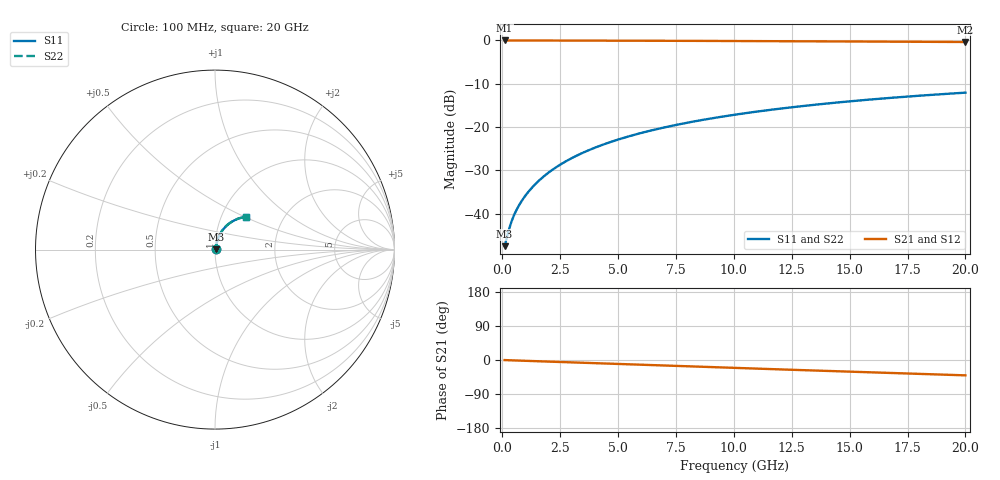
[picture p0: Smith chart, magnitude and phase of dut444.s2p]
! Touchstone file exported from HFSS 2026.1.0
!  File:  C:/ffzhzh/LocalFiles/Ansys_Project_Files/temp_train_BSMRDL_444_1783013165_4048.aedt
!  Generated:  01:27:25 AM Jul  3, 2026
!  Design:  BSMRDL
!  Project:  temp_train_BSMRDL_444_1783013165_4048
! Variables:
!  h_bsmrdl = 2.36um
!  h_ox = 20um
!  h_rdl = 5um
!  h_sub = 80um
!  h_tmrdl = 5um
!  h_tsv = 80um
!  h_via = 3um
!  l_bsmrdl = 647.97um
!  l_sub = 1047.97um
!  l_tmrdl = 200um
!  m_sub = 200um
!  pitch = 41.74um
!  r_tsv = 6um
!  s_tmrdl = 10um
!  w_bsmrdl = 28.1um
!  w_sub = 500um
!  w_tmrdl = 12um
!  x_tsv_center1 = 206um
!  x_tsv_center2 = 882.07um
!  x_tsv_center3 = 1094.07um
!  x_tsv_center4 = 1770.14um
!  x_tsv_center5 = 1982.14um
!  x_tsv_center6 = 2658.21um
# GHz S MA R 50.000000
! Terminal data exported
! Port[1] = BSM_RDL1_1_T1
! Port[2] = BSM_RDL1_1_T2
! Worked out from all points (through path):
!   200 points, 100 MHz to 20 GHz, reference 50 ohm
!   highest |S21| = -0.03 dB at 100 MHz (marker M1); lowest = -0.4 dB at 20 GHz (marker M2)
!   group delay of S21, straight-line fit = 5.63 ps
!   lowest |S11| = -47.5 dB at 100 MHz (marker M3), VSWR 1.01, Z = 50.4 + j0.184 ohm
!   |S11| at or under -10 dB: start of sweep to end of sweep
!   |S22| runs from -47.5 to -12.1 dB; largest |S21 - S12| = 6.1e-15
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0.1  0.00424 25.5  0.9962 -0.2  0.9962 -0.2  0.00424 25.5
! Gamma 0 0 0 0
! Port Impedance 50 0 50 0
0.3  0.006775 50.2  0.9957 -0.7  0.9957 -0.7  0.006775 50.2
0.4  0.00818 55.4  0.9954 -0.9  0.9954 -0.9  0.00818 55.4
0.5  0.009561 59.0  0.9952 -1.1  0.9952 -1.1  0.00956 59.0
0.6  0.01091 61.6  0.995 -1.3  0.995 -1.3  0.01091 61.6
0.8  0.01358 65.5  0.9947 -1.7  0.9947 -1.7  0.01358 65.5
1  0.01624 68.2  0.9944 -2.2  0.9944 -2.2  0.01624 68.2
1.2  0.01892 70.3  0.9943 -2.6  0.9943 -2.6  0.01892 70.3
1.4  0.02164 71.8  0.9941 -3.0  0.9941 -3.0  0.02163 71.8
1.7  0.02575 73.4  0.9939 -3.6  0.9939 -3.6  0.02575 73.4
2.2  0.03268 74.9  0.9936 -4.6  0.9936 -4.6  0.03268 74.9
2.8  0.04107 75.6  0.9931 -5.9  0.9931 -5.9  0.04107 75.6
3.5  0.05087 75.5  0.9925 -7.4  0.9925 -7.4  0.05087 75.6
4.2  0.06066 75.0  0.9917 -8.8  0.9917 -8.8  0.06066 75.1
5  0.07178 74.1  0.9907 -10.5  0.9907 -10.5  0.07178 74.2
5.9  0.08417 72.8  0.9894 -12.3  0.9894 -12.3  0.08417 72.9
6.8  0.0964 71.4  0.988 -14.2  0.988 -14.2  0.0964 71.4
8.3  0.1164 68.7  0.9852 -17.3  0.9852 -17.3  0.1164 68.8
10.1  0.1396 65.4  0.9815 -21.0  0.9815 -21.0  0.1396 65.5
13.4  0.1797 59.1  0.9736 -27.6  0.9736 -27.6  0.1797 59.3
16.7  0.2164 52.8  0.965 -34.1  0.965 -34.1  0.2164 53.0
20  0.2493 46.6  0.9561 -40.5  0.9561 -40.5  0.2493 46.9
